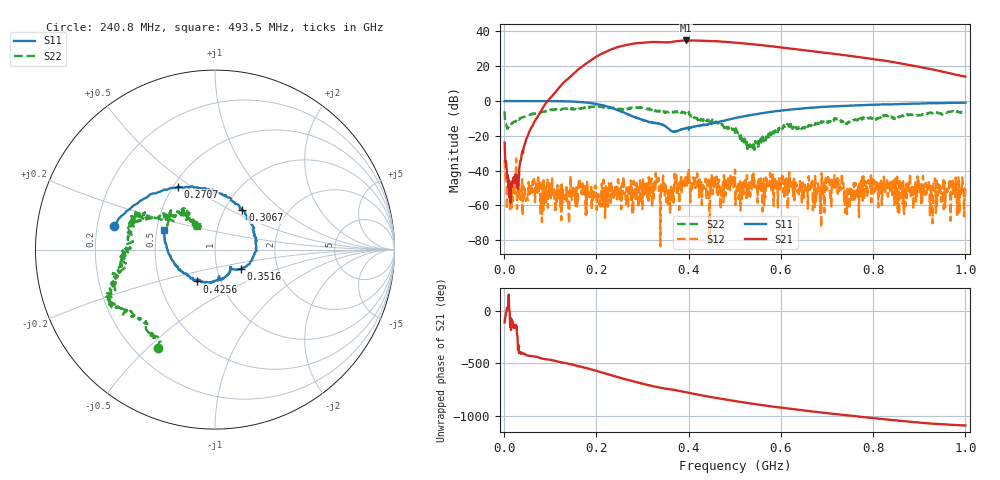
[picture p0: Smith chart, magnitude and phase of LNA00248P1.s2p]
! Created with skrf 1.9.0 (http://scikit-rf.org).
# Hz S RI R 50.0
!freq ReS11 ImS11 ReS21 ImS21 ReS12 ImS12 ReS22 ImS22
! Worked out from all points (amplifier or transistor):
!   1001 points, 1 MHz to 1 GHz, reference 50 ohm
!   highest |S21| = 34.8 dB at 394.6 MHz (marker M1)
!   |S21| within 3 dB of that: 257.9 MHz to 568.4 MHz (310.4 MHz wide, 75.1 % of centre)
!   unconditionally stable (mu >= 1): start of sweep to 85.85 MHz; 215.9 MHz to 313.6 MHz; 400.7 MHz to end of sweep (the widest 3 of 26)
!   at 166.8 MHz: K = 1.95, MAG = 30.3 dB, |S12| = -52.5 dB
!   at 500.5 MHz: K = 1.08, MAG = 34.8 dB, |S12| = -39.4 dB
!   at 1 GHz: K = 5.38, MAG = 22.0 dB, |S12| = -50.5 dB
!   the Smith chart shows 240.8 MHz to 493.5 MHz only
!   S11 on the Smith chart (normalised r, x): 240.8 MHz: 0.27, +0.11; 270.7 MHz: 0.53, +0.44; 306.7 MHz: 1.21, +0.57; 351.6 MHz: 1.30, -0.29; 425.6 MHz: 0.77, -0.29; 493.5 MHz: 0.54, +0.13
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1000000  0.9952 0.00661  -0.0262 -0.0585  -0.0194 -0.00676  0.3611 0.3528
1.08892e8  0.5122 -0.8479  -0.7752 -1.471  0.000738 0.00118  0.4207 -0.3638
1.67833e8  -0.2479 -0.8937  -9.581 -0.5963  0.00211 -0.000328  0.0587 -0.6267
2.08792e8  -0.6762 -0.3913  -15.34 15.69  -0.000827 0.000421  -0.2104 -0.6664
2.4076e8  -0.5632 0.1303  -1.868 33.53  0.000481 -0.00266  -0.3187 -0.5503
2.7073e8  -0.207 0.3506  23.56 34.92  -0.002 0.00358  -0.5151 -0.3682
3.06694e8  0.1527 0.2203  46.52 12.98  -0.00198 0.00166  -0.5761 -0.195
3.34666e8  0.2308 -0.00746  48.35 -10.26  -0.00359 0.00508  -0.4989 -0.0363
3.51649e8  0.1454 -0.1069  43.5 -20.93  -0.00125 -9.45e-06  -0.4861 0.0545
3.73627e8  0.0866 -0.1071  40.2 -33.82  0.00156 0.00619  -0.4632 0.171
3.94606e8  0.0451 -0.1636  28.1 -47.25  0.00349 0.00672  -0.3893 0.2087
4.25575e8  -0.0998 -0.1773  4.029 -53.98  0.00139 0.0048  -0.2059 0.18
4.55545e8  -0.2231 -0.0867  -17.44 -49.43  0.000123 0.00302  -0.1501 0.1787
4.93507e8  -0.2851 0.1114  -35.59 -33.07  0.00396 0.000236  -0.098 0.1308
5.005e8  -0.2902 0.1535  -37.79 -29.25  0.00765 0.00742  -0.0648 0.1036
5.4046e8  -0.1945 0.354  -41.65 -8.231  0.00686 -0.00447  -0.0352 0.0441
5.88412e8  0.0163 0.508  -34.39 11.61  0.00305 -0.00417  -0.1158 -0.0769
6.67333e8  0.3962 0.5056  -13.01 23.49  0.0049 -0.00123  -0.204 -0.0517
7.53247e8  0.6801 0.2881  4.236 18.99  -0.000672 0.00116  -0.2585 0.00725
8.34166e8  0.8011 0.0222  10.48 8.956  -0.00282 0.000796  -0.3684 -0.017
9.13087e8  0.8188 -0.2536  8.747 1.17  -0.0032 0.000372  -0.4125 0.132
1e9  0.7337 -0.5173  4.873 -1.259  0.0017 -0.00244  -0.3874 0.2988
